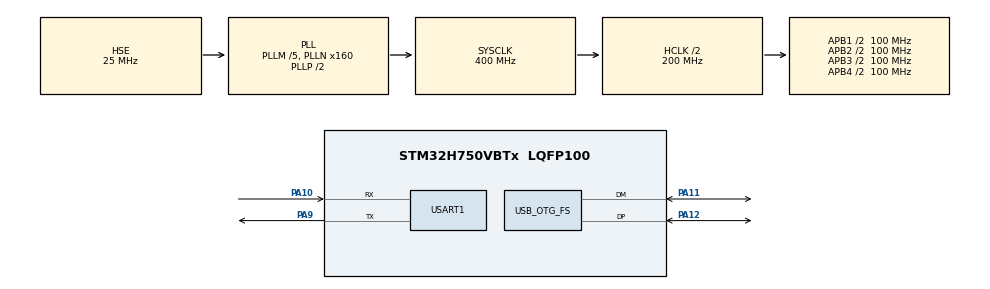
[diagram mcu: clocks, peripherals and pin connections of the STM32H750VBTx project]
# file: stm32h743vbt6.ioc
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Mcu.Family=STM32H7
Mcu.Name=STM32H750VBTx
Mcu.Package=LQFP100
NVIC.OTG_FS_IRQn=true\:0\:0\:false\:false\:true\:true\:true
NVIC.PriorityGroup=NVIC_PRIORITYGROUP_4
PA10.Mode=Asynchronous
PA10.Signal=USART1_RX
PA11.GPIO_Speed=GPIO_SPEED_FREQ_VERY_HIGH
PA11.Mode=Device_Only
PA11.Signal=USB_OTG_FS_DM
PA12.GPIO_Speed=GPIO_SPEED_FREQ_VERY_HIGH
PA12.Mode=Device_Only
PA12.Signal=USB_OTG_FS_DP
PA9.Mode=Asynchronous
PA9.Signal=USART1_TX
PH0-OSC_IN\ (PH0).Mode=HSE-External-Oscillator
PH0-OSC_IN\ (PH0).Signal=RCC_OSC_IN
PH1-OSC_OUT\ (PH1).Mode=HSE-External-Oscillator
PH1-OSC_OUT\ (PH1).Signal=RCC_OSC_OUT
ProjectManager.HeapSize=0x200
ProjectManager.StackSize=0x400
ProjectManager.TargetToolchain=MDK-ARM V5.27
RCC.ADCFreq_Value=400000000
RCC.APB1Freq_Value=100000000
RCC.APB2Freq_Value=100000000
RCC.APB3Freq_Value=100000000
RCC.APB4Freq_Value=100000000
RCC.CortexFreq_Value=400000000
RCC.D1PPRE=RCC_APB3_DIV2
RCC.D2PPRE1=RCC_APB1_DIV2
RCC.D2PPRE2=RCC_APB2_DIV2
RCC.D3PPRE=RCC_APB4_DIV2
RCC.DIVM1=5
RCC.DIVM2=5
RCC.DIVM3=5
RCC.DIVN1=160
RCC.DIVN2=160
RCC.DIVN3=160
RCC.HCLKFreq_Value=200000000
RCC.HPRE=RCC_HCLK_DIV2
RCC.PLLSourceVirtual=RCC_PLLSOURCE_HSE
RCC.SYSCLKFreq_VALUE=400000000
RCC.SYSCLKSource=RCC_SYSCLKSOURCE_PLLCLK
RCC.USBCLockSelection=RCC_USBCLKSOURCE_HSI48
RCC.USBFreq_Value=48000000
USART1.VirtualMode-Asynchronous=VM_ASYNC
USB_OTG_FS.VirtualMode=Device_Only
board=custom

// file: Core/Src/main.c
/* USER CODE BEGIN Header */
/**
  ******************************************************************************
  * @file           : main.c
  * @brief          : Main program body
  ******************************************************************************
  * @attention
  *
  * <h2><center>&copy; Copyright (c) 2021 STMicroelectronics.
  * All rights reserved.</center></h2>
  *
  * This software component is licensed by ST under BSD 3-Clause license,
  * the "License"; You may not use this file except in compliance with the
  * License. You may obtain a copy of the License at:
  *                        opensource.org/licenses/BSD-3-Clause
  *
  ******************************************************************************
  */
/* USER CODE END Header */
#include "main.h"

/* USER CODE BEGIN Includes */
#include "usbd_core.h"
#include "usbd_cdc.h"
/* USER CODE END Includes */

UART_HandleTypeDef huart1;

PCD_HandleTypeDef hpcd_USB_OTG_FS;

void SystemClock_Config(void);
static void MX_GPIO_Init(void);
static void MX_USART1_UART_Init(void);
static void MX_USB_OTG_FS_PCD_Init(void);

/* USER CODE BEGIN 0 */
int fputc(int ch, FILE *f)
{
    HAL_UART_Transmit(&huart1, (uint8_t *)&ch, 1, 1000);
    return ch;
}

void usb_dc_low_level_init(void)
{
    GPIO_InitTypeDef GPIO_InitStruct = { 0 };
    RCC_PeriphCLKInitTypeDef PeriphClkInitStruct = { 0 };

    /* USER CODE BEGIN USB_OTG_FS_MspInit 0 */

    /* USER CODE END USB_OTG_FS_MspInit 0 */
    /** Initializes the peripherals clock
  */
    PeriphClkInitStruct.PeriphClockSelection = RCC_PERIPHCLK_USB;
    PeriphClkInitStruct.UsbClockSelection = RCC_USBCLKSOURCE_HSI48;
    if (HAL_RCCEx_PeriphCLKConfig(&PeriphClkInitStruct) != HAL_OK) {
        Error_Handler();
    }
    /** Enable USB Voltage detector
  */
    HAL_PWREx_EnableUSBVoltageDetector();

    __HAL_RCC_GPIOA_CLK_ENABLE();
    /**USB_OTG_FS GPIO Configuration
    PA11     ------> USB_OTG_FS_DM
    PA12     ------> USB_OTG_FS_DP
    */
    GPIO_InitStruct.Pin = GPIO_PIN_11|GPIO_PIN_12;
    GPIO_InitStruct.Mode = GPIO_MODE_AF_PP;
    GPIO_InitStruct.Pull = GPIO_NOPULL;
    GPIO_InitStruct.Speed = GPIO_SPEED_FREQ_VERY_HIGH;
    GPIO_InitStruct.Alternate = GPIO_AF10_OTG1_FS;
    HAL_GPIO_Init(GPIOA, &GPIO_InitStruct);

    /* Peripheral clock enable */
    __HAL_RCC_USB_OTG_FS_CLK_ENABLE();
    /* USB_OTG_FS interrupt Init */
    HAL_NVIC_SetPriority(OTG_FS_IRQn, 0, 0);
    HAL_NVIC_EnableIRQ(OTG_FS_IRQn);
    /* USER CODE BEGIN USB_OTG_FS_MspInit 1 */

    /* USER CODE END USB_OTG_FS_MspInit 1 */
}

/* USER CODE END 0 */

int main(void)
{

  /* MCU Configuration--------------------------------------------------------*/

  /* Reset of all peripherals, Initializes the Flash interface and the Systick. */
  HAL_Init();

  /* Configure the system clock */
  SystemClock_Config();

  /* Initialize all configured peripherals */
  MX_GPIO_Init();
  MX_USART1_UART_Init();
  //MX_USB_OTG_FS_PCD_Init();
  /* USER CODE BEGIN 2 */

    extern void cdc_acm_init(void);
    cdc_acm_init();

    while (!usb_device_is_configured()) {
    }
  /* USER CODE END 2 */

  /* Infinite loop */
    while (1) {

    /* USER CODE BEGIN 3 */
        extern void cdc_acm_data_send_with_dtr_test(void);
        cdc_acm_data_send_with_dtr_test();
        HAL_Delay(500);
    }
  /* USER CODE END 3 */
}

void SystemClock_Config(void)
{
  RCC_OscInitTypeDef RCC_OscInitStruct = {0};
  RCC_ClkInitTypeDef RCC_ClkInitStruct = {0};

  /** Supply configuration update enable
  */
  HAL_PWREx_ConfigSupply(PWR_LDO_SUPPLY);
  /** Configure the main internal regulator output voltage
  */
  __HAL_PWR_VOLTAGESCALING_CONFIG(PWR_REGULATOR_VOLTAGE_SCALE1);

  while(!__HAL_PWR_GET_FLAG(PWR_FLAG_VOSRDY)) {}
  /** Initializes the RCC Oscillators according to the specified parameters
  * in the RCC_OscInitTypeDef structure.
  */
  RCC_OscInitStruct.OscillatorType = RCC_OSCILLATORTYPE_HSI48|RCC_OSCILLATORTYPE_HSE;
  RCC_OscInitStruct.HSEState = RCC_HSE_ON;
  RCC_OscInitStruct.HSI48State = RCC_HSI48_ON;
  RCC_OscInitStruct.PLL.PLLState = RCC_PLL_ON;
  RCC_OscInitStruct.PLL.PLLSource = RCC_PLLSOURCE_HSE;
  RCC_OscInitStruct.PLL.PLLM = 5;
  RCC_OscInitStruct.PLL.PLLN = 160;
  RCC_OscInitStruct.PLL.PLLP = 2;
  RCC_OscInitStruct.PLL.PLLQ = 2;
  RCC_OscInitStruct.PLL.PLLR = 2;
  RCC_OscInitStruct.PLL.PLLRGE = RCC_PLL1VCIRANGE_2;
  RCC_OscInitStruct.PLL.PLLVCOSEL = RCC_PLL1VCOWIDE;
  RCC_OscInitStruct.PLL.PLLFRACN = 0;
  if (HAL_RCC_OscConfig(&RCC_OscInitStruct) != HAL_OK)
  {
    Error_Handler();
  }
  /** Initializes the CPU, AHB and APB buses clocks
  */
  RCC_ClkInitStruct.ClockType = RCC_CLOCKTYPE_HCLK|RCC_CLOCKTYPE_SYSCLK
                              |RCC_CLOCKTYPE_PCLK1|RCC_CLOCKTYPE_PCLK2
                              |RCC_CLOCKTYPE_D3PCLK1|RCC_CLOCKTYPE_D1PCLK1;
  RCC_ClkInitStruct.SYSCLKSource = RCC_SYSCLKSOURCE_PLLCLK;
  RCC_ClkInitStruct.SYSCLKDivider = RCC_SYSCLK_DIV1;
  RCC_ClkInitStruct.AHBCLKDivider = RCC_HCLK_DIV2;
  RCC_ClkInitStruct.APB3CLKDivider = RCC_APB3_DIV2;
  RCC_ClkInitStruct.APB1CLKDivider = RCC_APB1_DIV2;
  RCC_ClkInitStruct.APB2CLKDivider = RCC_APB2_DIV2;
  RCC_ClkInitStruct.APB4CLKDivider = RCC_APB4_DIV2;

  if (HAL_RCC_ClockConfig(&RCC_ClkInitStruct, FLASH_LATENCY_2) != HAL_OK)
  {
    Error_Handler();
  }
}

static void MX_USART1_UART_Init(void)
{

  huart1.Instance = USART1;
  huart1.Init.BaudRate = 115200;
  huart1.Init.WordLength = UART_WORDLENGTH_8B;
  huart1.Init.StopBits = UART_STOPBITS_1;
  huart1.Init.Parity = UART_PARITY_NONE;
  huart1.Init.Mode = UART_MODE_TX_RX;
  huart1.Init.HwFlowCtl = UART_HWCONTROL_NONE;
  huart1.Init.OverSampling = UART_OVERSAMPLING_16;
  huart1.Init.OneBitSampling = UART_ONE_BIT_SAMPLE_DISABLE;
  huart1.Init.ClockPrescaler = UART_PRESCALER_DIV1;
  huart1.AdvancedInit.AdvFeatureInit = UART_ADVFEATURE_NO_INIT;
  if (HAL_UART_Init(&huart1) != HAL_OK)
  {
    Error_Handler();
  }
  if (HAL_UARTEx_SetTxFifoThreshold(&huart1, UART_TXFIFO_THRESHOLD_1_8) != HAL_OK)
  {
    Error_Handler();
  }
  if (HAL_UARTEx_SetRxFifoThreshold(&huart1, UART_RXFIFO_THRESHOLD_1_8) != HAL_OK)
  {
    Error_Handler();
  }
  if (HAL_UARTEx_DisableFifoMode(&huart1) != HAL_OK)
  {
    Error_Handler();
  }

}

static void MX_USB_OTG_FS_PCD_Init(void)
{

  hpcd_USB_OTG_FS.Instance = USB_OTG_FS;
  hpcd_USB_OTG_FS.Init.dev_endpoints = 9;
  hpcd_USB_OTG_FS.Init.speed = PCD_SPEED_FULL;
  hpcd_USB_OTG_FS.Init.dma_enable = DISABLE;
  hpcd_USB_OTG_FS.Init.phy_itface = PCD_PHY_EMBEDDED;
  hpcd_USB_OTG_FS.Init.Sof_enable = DISABLE;
  hpcd_USB_OTG_FS.Init.low_power_enable = DISABLE;
  hpcd_USB_OTG_FS.Init.lpm_enable = DISABLE;
  hpcd_USB_OTG_FS.Init.battery_charging_enable = DISABLE;
  hpcd_USB_OTG_FS.Init.vbus_sensing_enable = DISABLE;
  hpcd_USB_OTG_FS.Init.use_dedicated_ep1 = DISABLE;
  if (HAL_PCD_Init(&hpcd_USB_OTG_FS) != HAL_OK)
  {
    Error_Handler();
  }

}

static void MX_GPIO_Init(void)
{

  /* GPIO Ports Clock Enable */
  __HAL_RCC_GPIOH_CLK_ENABLE();
  __HAL_RCC_GPIOA_CLK_ENABLE();

}

void Error_Handler(void)
{
    __disable_irq();
    while (1) {
    }
}

/************************ (C) COPYRIGHT STMicroelectronics *****END OF FILE****/
